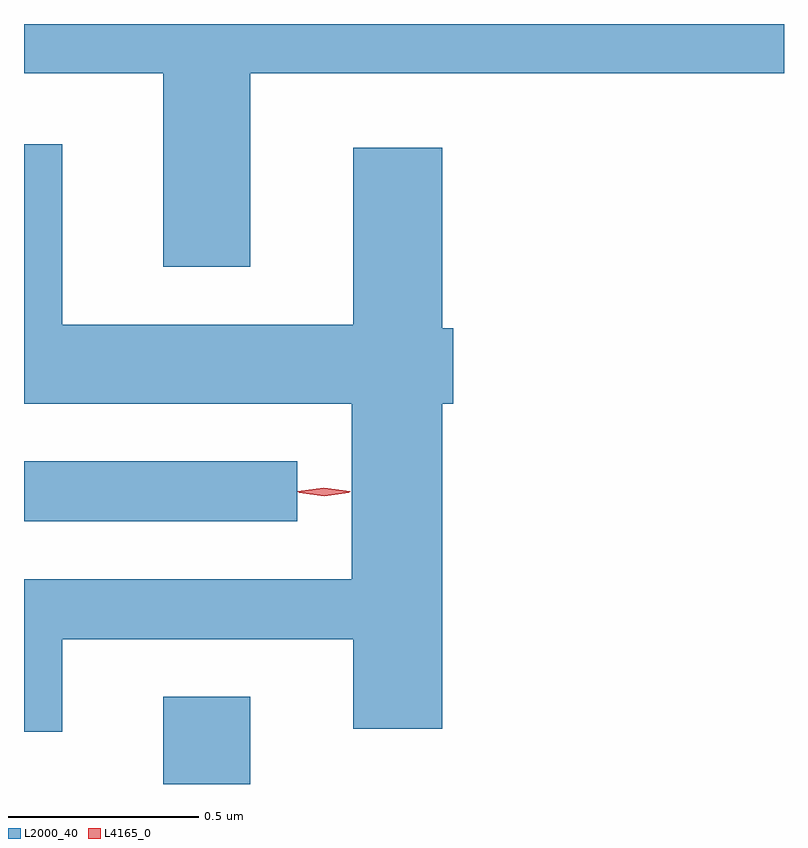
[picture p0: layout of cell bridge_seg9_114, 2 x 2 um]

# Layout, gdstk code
import gdstk
lib = gdstk.Library(unit=1e-6, precision=1e-09)
def R(c, l, rs):  # rectangles x0, y0, x1, y1
    for r in rs: c.add(gdstk.rectangle(r[:2], r[2:], *l))
def P(c, l, *ps):  # polygons
    for p in ps: c.add(gdstk.Polygon(p, *l))
L2000_40 = (2000, 40)
L4165_0 = (4165, 0)

bridge_seg9_114 = lib.new_cell('bridge_seg9_114')
R(bridge_seg9_114, L2000_40, [(1744.711,1969.965,1744.939,1970.194), (1744.344,1970.656,1745.063,1970.814)])
P(bridge_seg9_114, L2000_40, [(1744.939,1971.836),(1746.344,1971.836),(1746.344,1971.965),(1744.344,1971.965),(1744.344,1971.836),(1744.711,1971.836),(1744.711,1971.326),(1744.939,1971.326)],
  [(1744.444,1970.346),(1745.211,1970.346),(1745.211,1970.111),(1745.444,1970.111),(1745.444,1970.966),(1745.474,1970.966),(1745.474,1971.164),(1745.444,1971.164),(1745.444,1971.639),(1745.211,1971.639),(1745.211,1971.174),(1744.444,1971.174),(1744.444,1971.648),(1744.344,1971.648),(1744.344,1970.966),(1745.206,1970.966),(1745.206,1970.504),(1744.344,1970.504),(1744.344,1970.103),(1744.444,1970.103)])
P(bridge_seg9_114, L4165_0, [(1745.133,1970.725),(1745.064,1970.734),(1745.064,1970.735),(1745.064,1970.735),(1745.133,1970.745),(1745.202,1970.735),(1745.203,1970.735),(1745.202,1970.734)],
  [(1745.134,1970.722),(1745.068,1970.732),(1745.067,1970.732),(1745.068,1970.733),(1745.134,1970.742),(1745.199,1970.733),(1745.2,1970.732),(1745.199,1970.732)])

lib.write_gds('bridge_seg9_114.gds')
